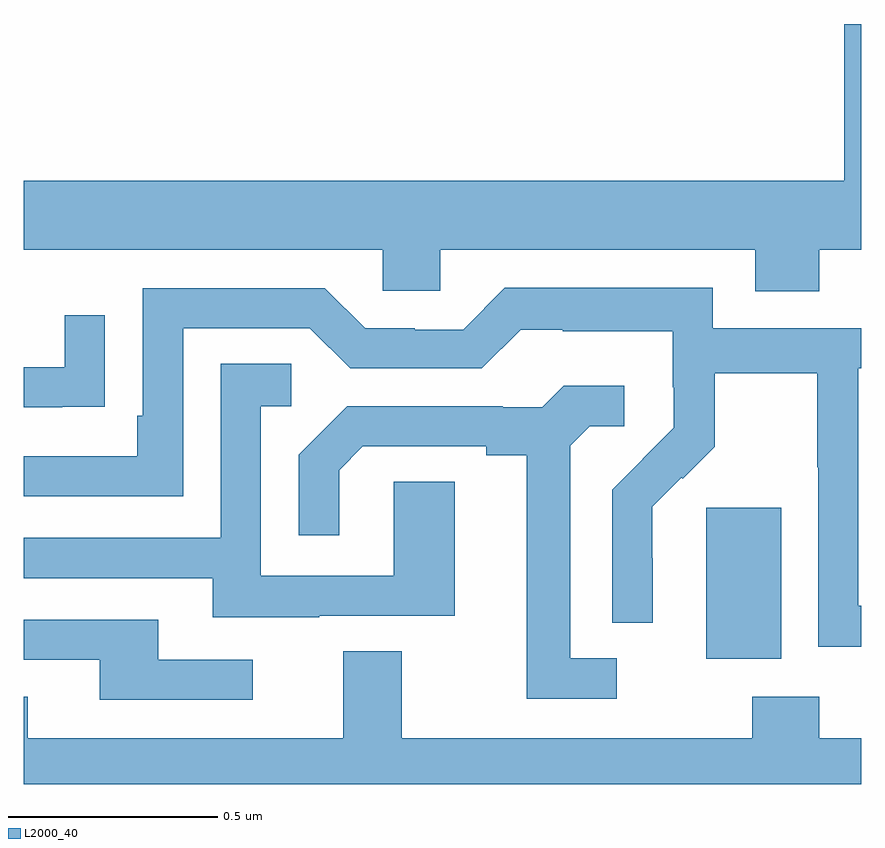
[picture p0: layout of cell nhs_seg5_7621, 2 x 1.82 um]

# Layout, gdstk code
import gdstk
lib = gdstk.Library(unit=1e-6, precision=1e-09)
def R(c, l, rs):  # rectangles x0, y0, x1, y1
    for r in rs: c.add(gdstk.rectangle(r[:2], r[2:], *l))
def P(c, l, *ps):  # polygons
    for p in ps: c.add(gdstk.Polygon(p, *l))
L2000_40 = (2000, 40)

nhs_seg5_7621 = lib.new_cell('nhs_seg5_7621')
R(nhs_seg5_7621, L2000_40, [(212.63,873.098,212.809,873.459)])
P(nhs_seg5_7621, L2000_40, [(212.9,874.076),(213,874.076),(213,874.615),(212.96,874.615),(212.96,874.24),(211,874.24),(211,874.076),(211.857,874.076),(211.857,873.978),(211.995,873.978),(211.995,874.076),(212.747,874.076),(212.747,873.977),(212.9,873.977)],
  [(213,873.225),(212.994,873.225),(212.994,873.792),(213,873.792),(213,873.888),(212.646,873.888),(212.646,873.985),(212.149,873.985),(212.049,873.885),(211.934,873.885),(211.934,873.888),(211.815,873.888),(211.719,873.984),(211.284,873.984),(211.284,873.679),(211.271,873.679),(211.271,873.582),(211,873.582),(211,873.486),(211.38,873.486),(211.38,873.888),(211.683,873.888),(211.779,873.792),(212.094,873.792),(212.187,873.885),(212.287,873.885),(212.287,873.881),(212.55,873.881),(212.55,873.747),(212.552,873.747),(212.552,873.65),(212.478,873.576),(212.479,873.575),(212.406,873.502),(212.406,873.184),(212.502,873.184),(212.502,873.338),(212.501,873.338),(212.501,873.461),(212.571,873.531),(212.574,873.528),(212.651,873.605),(212.651,873.78),(212.896,873.78),(212.896,873.556),(212.898,873.556),(212.898,873.127),(213,873.127)],
  [(211.091,873.7),(211.193,873.7),(211.193,873.919),(211.097,873.919),(211.097,873.795),(211,873.795),(211,873.699),(211.091,873.699)],
  [(211.705,873.201),(212.029,873.201),(212.029,873.521),(211.884,873.521),(211.884,873.297),(211.566,873.297),(211.566,873.702),(211.639,873.702),(211.639,873.803),(211.47,873.803),(211.47,873.387),(211,873.387),(211,873.291),(211.451,873.291),(211.451,873.197),(211.705,873.197)],
  [(212.416,873.099),(212.305,873.099),(212.305,873.607),(212.352,873.654),(212.434,873.654),(212.434,873.751),(212.29,873.751),(212.238,873.699),(212.144,873.699),(212.144,873.702),(211.772,873.702),(211.656,873.586),(211.656,873.393),(211.753,873.393),(211.753,873.549),(211.81,873.606),(212.105,873.606),(212.105,873.584),(212.201,873.584),(212.201,873.003),(212.416,873.003)],
  [(211.546,873.096),(211.321,873.096),(211.321,873.192),(211,873.192),(211,873.096),(211.181,873.096),(211.181,873),(211.546,873)],
  [(213,872.908),(212.9,872.908),(212.9,873.007),(212.74,873.007),(212.74,872.908),(211.903,872.908),(211.903,873.116),(211.763,873.116),(211.763,872.908),(211.009,872.908),(211.009,873.007),(211,873.007),(211,872.799),(213,872.799)])

lib.write_gds('nhs_seg5_7621.gds')
